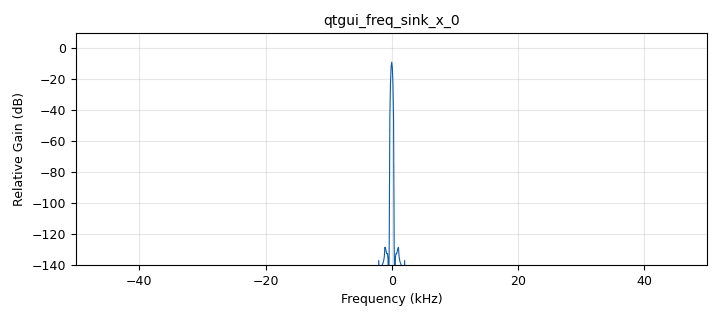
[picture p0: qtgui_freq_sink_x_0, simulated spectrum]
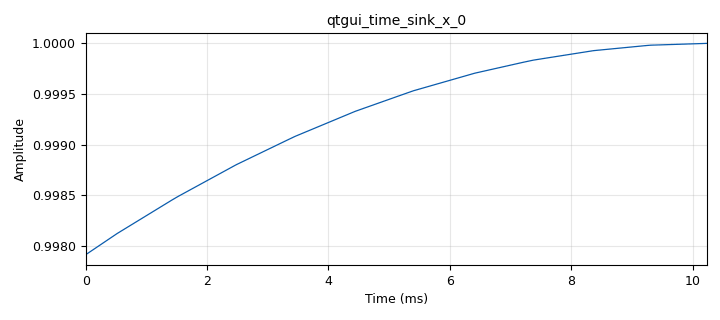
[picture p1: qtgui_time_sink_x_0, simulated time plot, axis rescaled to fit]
options:
  parameters:
    author: mmprk
    generate_options: qt_gui
    id: complexPlot
    output_language: python
    title: complexPlot
  states: {}

blocks:
- name: freq
  id: variable_qtgui_range
  parameters:
    start: '-100e3'
    step: '1'
    stop: 100e3
    value: '1'
  states: {}
- name: samp_rate
  id: variable
  parameters:
    value: 100e3
  states: {}
- name: analog_sig_source_x_0
  id: analog_sig_source_x
  parameters:
    amp: '1'
    freq: freq
    offset: '0'
    phase: '0'
    samp_rate: samp_rate
    type: float
    waveform: analog.GR_COS_WAVE
  states: {}
- name: blocks_abs_xx_0
  id: blocks_abs_xx
  parameters:
    type: float
  states: {}
- name: blocks_throttle2_0
  id: blocks_throttle2
  parameters:
    samples_per_second: samp_rate
    type: float
  states: {}
- name: qtgui_freq_sink_x_0
  id: qtgui_freq_sink_x
  parameters:
    bw: samp_rate
    fc: '0'
    fftsize: '1024'
    type: float
  states: {}
- name: qtgui_time_sink_x_0
  id: qtgui_time_sink_x
  parameters:
    size: '1024'
    srate: samp_rate
    type: float
  states: {}

connections:
- [analog_sig_source_x_0, '0', blocks_throttle2_0, '0']
- [blocks_abs_xx_0, '0', qtgui_freq_sink_x_0, '0']
- [blocks_abs_xx_0, '0', qtgui_time_sink_x_0, '0']
- [blocks_throttle2_0, '0', blocks_abs_xx_0, '0']

metadata:
  file_format: 1
  grc_version: 3.10.6.0
